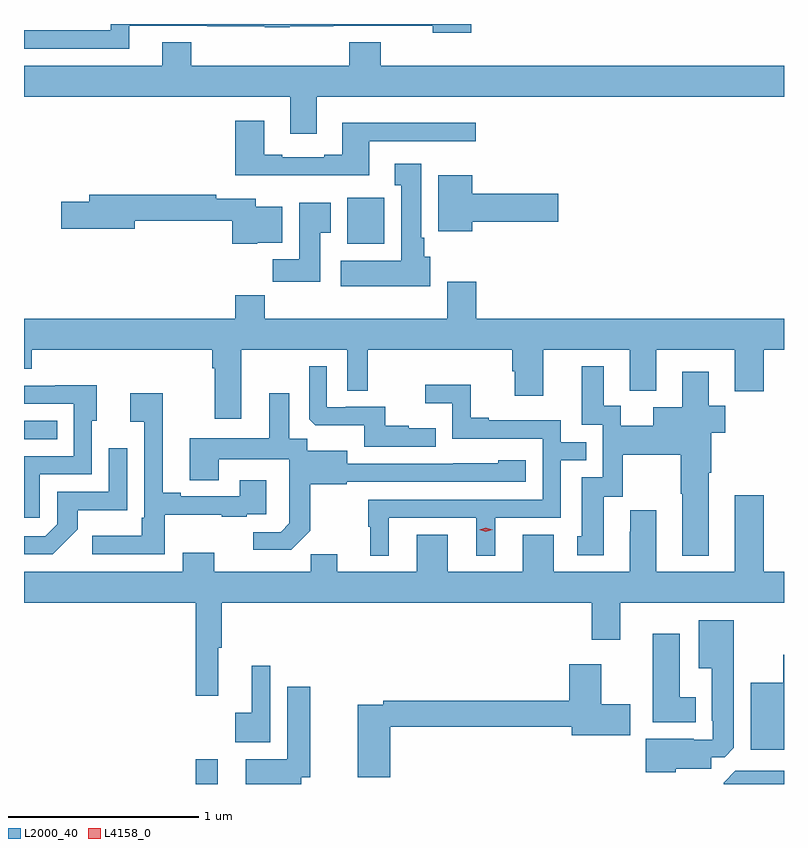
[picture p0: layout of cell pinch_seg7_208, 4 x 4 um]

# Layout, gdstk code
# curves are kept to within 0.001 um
import gdstk
lib = gdstk.Library(unit=1e-6, precision=1e-09)
def R(c, l, rs):  # rectangles x0, y0, x1, y1
    for r in rs: c.add(gdstk.rectangle(r[:2], r[2:], *l))
def P(c, l, *ps):  # polygons
    for p in ps: c.add(gdstk.Polygon(p, *l))
L2000_40 = (2000, 40)
L4158_0 = (4158, 0)

pinch_seg7_208 = lib.new_cell('pinch_seg7_208')
R(pinch_seg7_208, L2000_40, [(729.703,1030.299,729.82,1030.429), (728.799,1032.114,728.975,1032.21), (730.499,1033.142,730.696,1033.384)])
P(pinch_seg7_208, L2000_40, [(729.352,1034.289),(729.763,1034.289),(729.763,1034.288),(730.065,1034.288),(730.065,1034.282),(730.197,1034.282),(730.197,1034.288),(730.427,1034.288),(730.427,1034.289),(730.949,1034.289),(730.949,1034.252),(731.153,1034.252),(731.153,1034.299),(729.255,1034.299),(729.255,1034.265),(728.799,1034.265),(728.799,1034.169),(729.352,1034.169)],
  [(730.339,1033.916),(732.799,1033.916),(732.799,1034.08),(730.676,1034.08),(730.676,1034.204),(730.511,1034.204),(730.511,1034.08),(729.68,1034.08),(729.68,1034.204),(729.527,1034.204),(729.527,1034.08),(728.799,1034.08),(728.799,1033.916),(730.199,1033.916),(730.199,1033.722),(730.339,1033.722)],
  [(730.615,1033.683),(731.176,1033.683),(731.176,1033.78),(730.475,1033.78),(730.475,1033.612),(730.379,1033.612),(730.379,1033.599),(730.159,1033.599),(730.159,1033.612),(730.063,1033.612),(730.063,1033.789),(729.911,1033.789),(729.911,1033.502),(730.615,1033.502)],
  [(730.936,1033.074),(730.906,1033.074),(730.906,1033.174),(730.891,1033.174),(730.891,1033.564),(730.751,1033.564),(730.751,1033.451),(730.784,1033.451),(730.784,1033.054),(730.467,1033.054),(730.467,1032.92),(730.936,1032.92)],
  [(731.158,1033.259),(731.611,1033.259),(731.611,1033.406),(731.158,1033.406),(731.158,1033.504),(730.979,1033.504),(730.979,1033.208),(731.158,1033.208)],
  [(730.026,1033.148),(730.159,1033.148),(730.159,1033.336),(730.018,1033.336),(730.018,1033.38),(729.812,1033.38),(729.812,1033.4),(729.143,1033.4),(729.143,1033.364),(728.994,1033.364),(728.994,1033.222),(729.382,1033.222),(729.382,1033.264),(729.896,1033.264),(729.896,1033.142),(730.026,1033.142)],
  [(730.357,1033.201),(730.414,1033.201),(730.414,1033.357),(730.247,1033.357),(730.247,1033.06),(730.108,1033.06),(730.108,1032.942),(730.357,1032.942)],
  [(731.18,1032.943),(731.027,1032.943),(731.027,1032.748),(730.067,1032.748),(730.067,1032.872),(729.911,1032.872),(729.911,1032.748),(728.799,1032.748),(728.799,1032.485),(728.839,1032.485),(728.839,1032.584),(729.791,1032.584),(729.791,1032.488),(729.803,1032.488),(729.803,1032.222),(729.943,1032.222),(729.943,1032.584),(730.5,1032.584),(730.5,1032.37),(730.609,1032.37),(730.609,1032.584),(731.369,1032.584),(731.369,1032.471),(731.381,1032.471),(731.381,1032.342),(731.533,1032.342),(731.533,1032.584),(731.987,1032.584),(731.987,1032.368),(732.127,1032.368),(732.127,1032.584),(732.539,1032.584),(732.539,1032.366),(732.692,1032.366),(732.692,1032.584),(732.799,1032.584),(732.799,1032.748),(731.18,1032.748)],
  [(732.403,1031.936),(732.416,1031.936),(732.416,1032.149),(732.49,1032.149),(732.49,1032.291),(732.403,1032.291),(732.403,1032.469),(732.263,1032.469),(732.263,1032.283),(732.11,1032.283),(732.11,1032.184),(731.941,1032.184),(731.941,1032.29),(731.851,1032.29),(731.851,1032.499),(731.735,1032.499),(731.735,1032.189),(731.844,1032.189),(731.844,1031.913),(731.735,1031.913),(731.735,1031.604),(731.711,1031.604),(731.711,1031.502),(731.851,1031.502),(731.851,1031.81),(731.949,1031.81),(731.949,1032.032),(732.256,1032.032),(732.256,1031.827),(732.263,1031.827),(732.263,1031.501),(732.403,1031.501)],
  [(730.967,1032.172),(730.823,1032.172),(730.823,1032.184),(730.7,1032.184),(730.7,1032.285),(730.492,1032.285),(730.492,1032.282),(730.392,1032.282),(730.392,1032.499),(730.299,1032.499),(730.299,1032.219),(730.331,1032.188),(730.59,1032.188),(730.59,1032.075),(730.967,1032.075)],
  [(730.72,1031.7),(731.18,1031.7),(731.18,1031.501),(731.278,1031.501),(731.278,1031.7),(731.625,1031.7),(731.625,1032.003),(731.759,1032.003),(731.759,1032.099),(731.625,1032.099),(731.625,1032.213),(731.245,1032.213),(731.245,1032.226),(731.151,1032.226),(731.151,1032.401),(730.911,1032.401),(730.911,1032.302),(731.052,1032.302),(731.052,1032.117),(731.529,1032.117),(731.529,1031.796),(730.611,1031.796),(730.611,1031.652),(730.622,1031.652),(730.622,1031.501),(730.72,1031.501)],
  [(728.883,1031.928),(729.156,1031.928),(729.156,1032.21),(729.181,1032.21),(729.181,1032.398),(728.963,1032.398),(728.963,1032.396),(728.799,1032.396),(728.799,1032.3),(729.06,1032.3),(729.06,1032.024),(728.799,1032.024),(728.799,1031.7),(728.883,1031.7)],
  [(730.305,1031.631),(730.305,1031.877),(730.497,1031.877),(730.497,1031.889),(731.44,1031.889),(731.44,1032.004),(731.295,1032.004),(731.295,1031.986),(730.501,1031.985),(730.501,1032.052),(730.29,1032.052),(730.29,1032.116),(730.195,1032.116),(730.195,1032.355),(730.091,1032.355),(730.091,1032.118),(729.671,1032.118),(729.671,1031.899),(729.823,1031.899),(729.823,1032.008),(730.194,1032.008),(730.194,1031.767),(730.196,1031.767),(730.196,1031.672),(730.149,1031.625),(730.005,1031.625),(730.005,1031.531),(730.205,1031.531)],
  [(729.541,1031.717),(729.839,1031.717),(729.839,1031.706),(729.971,1031.706),(729.971,1031.718),(730.075,1031.718),(730.075,1031.899),(729.935,1031.899),(729.935,1031.814),(729.625,1031.814),(729.625,1031.833),(729.529,1031.833),(729.529,1032.355),(729.357,1032.355),(729.357,1032.206),(729.432,1032.206),(729.432,1031.701),(729.42,1031.701),(729.42,1031.605),(729.159,1031.605),(729.159,1031.508),(729.541,1031.508)],
  [(729.081,1031.639),(729.081,1031.741),(729.342,1031.741),(729.342,1032.067),(729.246,1032.067),(729.246,1031.838),(728.973,1031.838),(728.973,1031.667),(728.91,1031.604),(728.799,1031.604),(728.799,1031.508),(728.95,1031.508)],
  [(729.821,1031.016),(729.839,1031.016),(729.839,1031.252),(731.786,1031.252),(731.786,1031.058),(731.938,1031.058),(731.938,1031.252),(732.799,1031.252),(732.799,1031.416),(732.692,1031.416),(732.692,1031.818),(732.539,1031.818),(732.539,1031.416),(732.127,1031.416),(732.127,1031.74),(731.99,1031.74),(731.99,1031.627),(731.987,1031.627),(731.987,1031.416),(731.587,1031.416),(731.587,1031.611),(731.423,1031.611),(731.423,1031.416),(731.029,1031.416),(731.029,1031.611),(730.865,1031.611),(730.865,1031.416),(730.447,1031.416),(730.447,1031.507),(730.309,1031.507),(730.309,1031.416),(729.799,1031.416),(729.799,1031.515),(729.635,1031.515),(729.635,1031.416),(728.799,1031.416),(728.799,1031.252),(729.703,1031.252),(729.703,1030.764),(729.821,1030.764)],
  [(732.228,1030.379),(732.415,1030.379),(732.415,1030.44),(732.486,1030.44),(732.535,1030.489),(732.535,1031.161),(732.35,1031.161),(732.35,1030.907),(732.419,1030.907),(732.419,1030.633),(732.423,1030.633),(732.423,1030.533),(732.323,1030.533),(732.323,1030.537),(732.071,1030.537),(732.071,1030.361),(732.228,1030.361)],
  [(732.334,1030.756),(732.25,1030.756),(732.25,1031.089),(732.107,1031.089),(732.107,1030.625),(732.334,1030.625)],
  [(732.799,1030.978),(732.794,1030.978),(732.794,1030.831),(732.623,1030.831),(732.623,1030.478),(732.799,1030.478)],
  [(730.727,1030.6),(731.681,1030.6),(731.681,1030.556),(731.989,1030.556),(731.989,1030.719),(731.836,1030.719),(731.836,1030.93),(731.669,1030.93),(731.669,1030.736),(730.69,1030.736),(730.69,1030.716),(730.556,1030.716),(730.556,1030.335),(730.727,1030.335)],
  [(730.095,1030.921),(729.998,1030.921),(729.998,1030.673),(729.912,1030.673),(729.912,1030.52),(730.095,1030.52)],
  [(730.258,1030.335),(730.306,1030.335),(730.306,1030.81),(730.184,1030.81),(730.184,1030.429),(729.965,1030.429),(729.965,1030.299),(730.258,1030.299)],
  [(732.799,1030.368),(732.543,1030.368),(732.482,1030.306),(732.482,1030.299),(732.799,1030.299)])
P(pinch_seg7_208, L4158_0, [(731.229,1031.627),(731.194,1031.637),(731.193,1031.637),(731.194,1031.638),(731.229,1031.647),(731.265,1031.638),(731.265,1031.637),(731.265,1031.637)])

lib.write_gds('pinch_seg7_208.gds')
